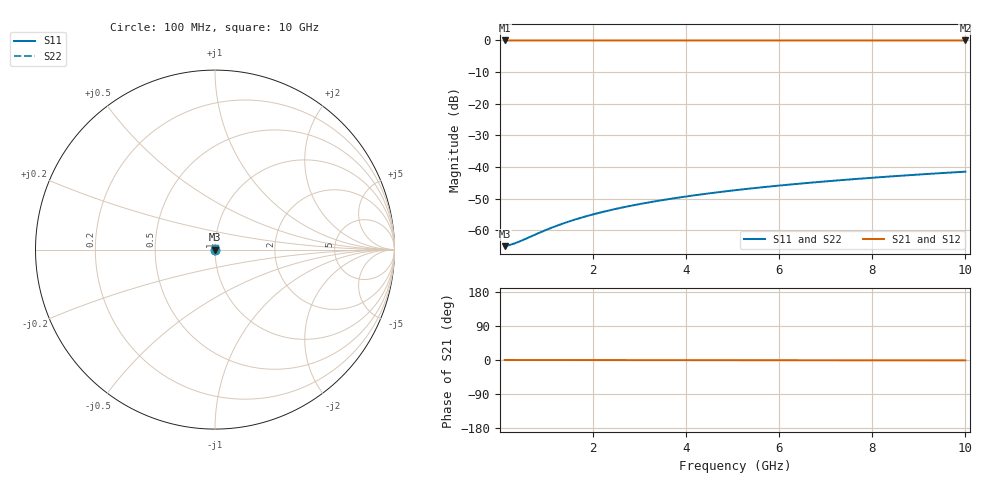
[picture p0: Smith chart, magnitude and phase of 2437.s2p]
# Hz S RI R 50.00
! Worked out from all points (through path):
!   100 points, 100 MHz to 10 GHz, reference 50 ohm
!   highest |S21| = 0.00 dB at 100 MHz (marker M1); lowest = 0.0 dB at 10 GHz (marker M2)
!   lowest |S11| = -65.1 dB at 100 MHz (marker M3), VSWR 1.00, Z = 50.1 + j0.00838 ohm
!   |S11| at or under -10 dB: start of sweep to end of sweep
!   |S22| runs from -65.1 to -41.5 dB; largest |S21 - S12| = 0
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1e8  0.000551 8.37e-05  0.9994 -0.000178  0.9994 -0.000178  0.000551 8.37e-05
2e8  0.000555 0.000167  0.9994 -0.000356  0.9994 -0.000356  0.000555 0.000167
3e8  0.000557 0.000251  0.9994 -0.000533  0.9994 -0.000533  0.000557 0.000251
4e8  0.00056 0.000335  0.9994 -0.000711  0.9994 -0.000711  0.00056 0.000335
9e8  0.000568 0.000753  0.9994 -0.0016  0.9994 -0.0016  0.000568 0.000753
1.2e9  0.000572 0.001  0.9994 -0.00213  0.9994 -0.00213  0.000572 0.001
1.5e9  0.000576 0.00126  0.9994 -0.00267  0.9994 -0.00267  0.000576 0.00126
1.8e9  0.00058 0.00151  0.9994 -0.0032  0.9994 -0.0032  0.00058 0.00151
2.1e9  0.000584 0.00176  0.9994 -0.00373  0.9994 -0.00373  0.000584 0.00176
2.5e9  0.000589 0.00209  0.9994 -0.00445  0.9994 -0.00445  0.000589 0.00209
2.9e9  0.000595 0.00243  0.9994 -0.00516  0.9994 -0.00516  0.000595 0.00243
3.4e9  0.000602 0.00285  0.9994 -0.00605  0.9994 -0.00605  0.000602 0.00285
3.8e9  0.000608 0.00318  0.9994 -0.00676  0.9994 -0.00676  0.000608 0.00318
4.2e9  0.000615 0.00352  0.9994 -0.00747  0.9994 -0.00747  0.000615 0.00352
4.6e9  0.000622 0.00385  0.9994 -0.00818  0.9994 -0.00818  0.000622 0.00385
5.1e9  0.000632 0.00427  0.9994 -0.00907  0.9994 -0.00907  0.000632 0.00427
5.9e9  0.000648 0.00494  0.9993 -0.0105  0.9993 -0.0105  0.000648 0.00494
6.7e9  0.000667 0.00561  0.9993 -0.0119  0.9993 -0.0119  0.000667 0.00561
7.5e9  0.000687 0.00628  0.9993 -0.0133  0.9993 -0.0133  0.000687 0.00628
8.4e9  0.000712 0.00703  0.9992 -0.0149  0.9992 -0.0149  0.000712 0.00703
9.2e9  0.000737 0.0077  0.9992 -0.0164  0.9992 -0.0164  0.000737 0.0077
1e10  0.000763 0.00837  0.9992 -0.0178  0.9992 -0.0178  0.000763 0.00837
